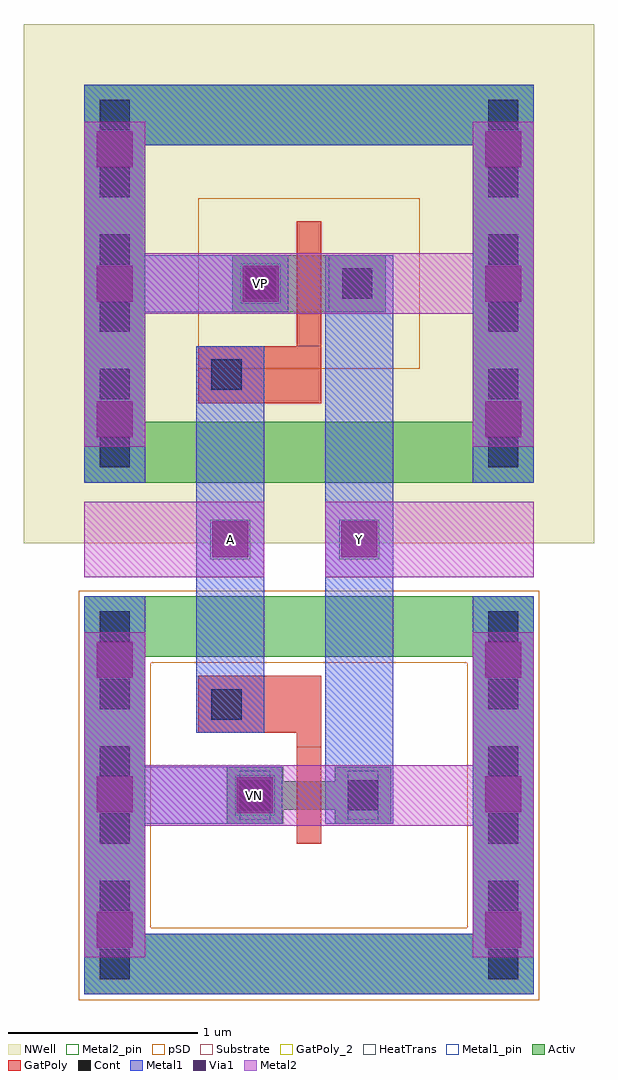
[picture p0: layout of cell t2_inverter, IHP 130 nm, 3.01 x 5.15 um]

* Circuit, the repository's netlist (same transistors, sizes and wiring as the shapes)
* Extracted by KLayout with SG13G2 LVS runset on : 10/06/2025 18:05

.SUBCKT t2_inverter
M$1 1 4 3 1 sg13_lv_nmos L=0.13u W=0.15u AS=0.1005p AD=0.1005p PS=1.34u PD=1.34u
M$2 2 4 3 2 sg13_lv_pmos L=0.13u W=0.3u AS=0.102p AD=0.102p PS=1.28u PD=1.28u
.ENDS t2_inverter

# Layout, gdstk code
import gdstk
lib = gdstk.Library(unit=1e-6, precision=1e-09)
def R(c, l, rs):  # rectangles x0, y0, x1, y1
    for r in rs: c.add(gdstk.rectangle(r[:2], r[2:], *l))
def A(c, l, x, y, w, h, nx, ny, dx, dy):  # array of equal rectangles
    R(c, l, [(x+i*dx, y+j*dy, x+i*dx+w, y+j*dy+h) for i in range(nx) for j in range(ny)])
Activ = (1, 0)
GatPoly = (5, 0)
GatPoly_2 = (5, 2)
Cont = (6, 0)
Metal1 = (8, 0)
Metal1_pin = (8, 2)
Metal2 = (10, 0)
Metal2_pin = (10, 2)
pSD = (14, 0)
Via1 = (19, 0)
NWell = (31, 0)
Substrate = (40, 0)
HeatTrans = (51, 0)

nmos = lib.new_cell('nmos')
R(nmos, Activ, [(0,0,0.3,0.3), (0.57,0,0.87,0.3), (0,0.075,0.87,0.225)])
R(nmos, GatPoly, [(0.37,-0.105,0.5,0.405)])
R(nmos, GatPoly_2, [(0.37,-0.105,0.5,0.405)])
R(nmos, Cont, [(0.07,0.07,0.23,0.23), (0.64,0.07,0.8,0.23)])
R(nmos, Metal1, [(0.07,0.02,0.23,0.28), (0.64,0.02,0.8,0.28)])
R(nmos, Metal1_pin, [(0.07,0.02,0.23,0.28), (0.64,0.02,0.8,0.28)])
R(nmos, HeatTrans, [(0.37,-0.105,0.5,0.405)])
nmos.add(gdstk.Label('nmos', (0.435,0.15), layer=63, texttype=0))
nmos.add(gdstk.Label('nmos', (0.435,0.15), layer=51, texttype=0))

pmos_1 = lib.new_cell('pmos$1')
R(pmos_1, Activ, [(0,0,0.3,0.3), (0,0,0.81,0.3), (0.51,0,0.81,0.3)])
R(pmos_1, GatPoly, [(0.34,-0.18,0.47,0.48), (0.34,-0.18,0.47,0.48)])
R(pmos_1, Cont, [(0.07,0.07,0.23,0.23), (0.58,0.07,0.74,0.23)])
R(pmos_1, Metal1, [(0.07,0,0.23,0.3), (0.07,0,0.23,0.3), (0.58,0,0.74,0.3), (0.58,0,0.74,0.3)])
R(pmos_1, pSD, [(-0.18,-0.3,0.99,0.6)])
R(pmos_1, NWell, [(-0.31,-0.31,1.12,0.61)])
R(pmos_1, Substrate, [(0.51,0,0.81,0.3)])
R(pmos_1, HeatTrans, [(0.34,-0.18,0.47,0.48)])
pmos_1.add(gdstk.Label('pmos', (0.405,0.15), layer=63, texttype=0))
pmos_1.add(gdstk.Label('pmos', (0.405,0.15), layer=51, texttype=0))

t2_inverter = lib.new_cell('t2_inverter')
R(t2_inverter, Activ, [(-1.425,-3.22,0.625,-2.9), (0.625,-3.22,0.945,-1.44), (-1.425,-2.9,-1.105,-1.12), (-1.105,-1.44,0.945,-1.12), (-1.425,-0.52,0.625,-0.2), (0.625,-0.52,0.945,1.26), (-1.425,-0.2,-1.105,1.58), (-1.105,1.26,0.945,1.58)])
R(t2_inverter, GatPoly, [(-0.305,-1.915,-0.175,-1.84), (-0.825,-1.84,-0.175,-1.54), (-0.825,-0.1,-0.175,0.2)])
A(t2_inverter, Cont, -1.345, -2.78, 0.16, 0.16, 1, 5, 0, 0.355)
A(t2_inverter, Cont, 0.705, -2.78, 0.16, 0.16, 1, 5, 0, 0.355)
A(t2_inverter, Cont, -1.345, -0.08, 0.16, 0.16, 1, 5, 0, 0.355)
A(t2_inverter, Cont, 0.705, -0.08, 0.16, 0.16, 1, 5, 0, 0.355)
R(t2_inverter, Cont, [(-1.345,-3.14,-1.185,-2.98), (0.705,-3.14,0.865,-2.98), (-0.755,-1.77,-0.595,-1.61), (-1.345,-0.44,-1.185,-0.28), (0.705,-0.44,0.865,-0.28), (-0.755,-0.03,-0.595,0.13)])
R(t2_inverter, Metal1, [(-1.425,-3.22,-1.105,-1.12), (-1.105,-3.22,0.625,-2.9), (0.625,-3.22,0.945,-1.12), (-1.105,-2.32,-0.38,-2.02), (-0.155,-2.32,0.205,0.68), (-0.835,-1.84,-0.475,0.2), (-1.425,-0.52,-1.105,1.58), (0.625,-0.52,0.945,1.58), (-1.105,0.38,-0.35,0.68), (-1.105,1.26,0.625,1.58)])
R(t2_inverter, Metal2, [(-1.425,-3.025,-1.105,-1.31), (0.625,-3.025,0.945,-1.31), (-1.105,-2.33,0.625,-2.01), (-1.425,-1.02,-0.475,-0.62), (-0.155,-1.02,0.945,-0.62), (-1.425,-0.33,-1.105,1.385), (0.625,-0.33,0.945,1.385), (-1.105,0.37,0.625,0.69)])
R(t2_inverter, Metal2_pin, [(-0.63,-2.275,-0.42,-2.065), (-0.76,-0.925,-0.55,-0.715), (-0.08,-0.925,0.13,-0.715), (-0.6,0.425,-0.39,0.635)])
R(t2_inverter, pSD, [(-1.455,-3.25,0.595,-2.87), (0.595,-3.25,0.975,-1.47), (-1.455,-2.87,-1.075,-1.09), (-1.075,-1.47,0.975,-1.09)])
R(t2_inverter, Via1, [(-1.36,-2.975,-1.17,-2.785), (0.69,-2.975,0.88,-2.785), (-0.62,-2.265,-0.43,-2.075), (-1.36,-2.26,-1.17,-2.07), (0.69,-2.26,0.88,-2.07), (-1.36,-1.55,-1.17,-1.36), (0.69,-1.55,0.88,-1.36), (-0.75,-0.915,-0.56,-0.725), (-0.07,-0.915,0.12,-0.725), (-1.36,-0.28,-1.17,-0.09), (0.69,-0.28,0.88,-0.09), (-1.36,0.435,-1.17,0.625), (-0.59,0.435,-0.4,0.625), (0.69,0.435,0.88,0.625), (-1.36,1.145,-1.17,1.335), (0.69,1.145,0.88,1.335)])
R(t2_inverter, NWell, [(-1.745,-0.84,1.265,1.9)])
t2_inverter.add(gdstk.Reference(nmos, (-0.675,-2.32)))
t2_inverter.add(gdstk.Reference(pmos_1, (-0.645,0.38)))
t2_inverter.add(gdstk.Label('Y', (0.025,-0.82), layer=10, texttype=2))
t2_inverter.add(gdstk.Label('A', (-0.655,-0.82), layer=10, texttype=2))
t2_inverter.add(gdstk.Label('VN', (-0.525,-2.17), layer=10, texttype=2))
t2_inverter.add(gdstk.Label('VP', (-0.495,0.53), layer=10, texttype=2))

lib.write_gds('t2_inverter.gds')
